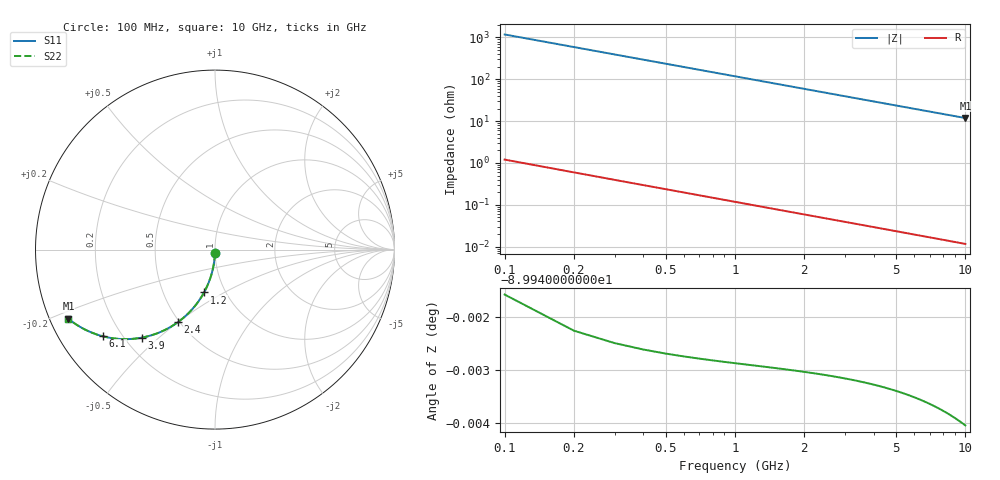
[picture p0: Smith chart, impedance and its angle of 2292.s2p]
# Hz S RI R 50.00
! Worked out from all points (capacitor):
!   100 points, 100 MHz to 10 GHz, reference 50 ohm
!   read as one part in shunt: C = 1.35 pF near 100 MHz
!   lowest |Z| = 11.9 ohm at 10 GHz (marker M1)
!   S11 on the Smith chart (normalised r, x): 100 MHz: 1.00, -0.04; 1.2 GHz: 0.79, -0.40; 2.4 GHz: 0.49, -0.50; 3.9 GHz: 0.27, -0.44; 6.1 GHz: 0.13, -0.34; 10 GHz: 0.05, -0.22
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1e8  -0.000459 -0.0212  0.9995 -0.0212  0.9995 -0.0212  -0.000459 -0.0212
2e8  -0.00182 -0.0423  0.9982 -0.0423  0.9982 -0.0423  -0.00182 -0.0423
3e8  -0.00407 -0.0632  0.9959 -0.0633  0.9959 -0.0633  -0.00407 -0.0632
4e8  -0.0072 -0.084  0.9928 -0.0841  0.9928 -0.0841  -0.0072 -0.084
5e8  -0.0112 -0.1046  0.9888 -0.1048  0.9888 -0.1048  -0.0112 -0.1046
6e8  -0.016 -0.1249  0.984 -0.1251  0.984 -0.1251  -0.016 -0.1249
7e8  -0.0216 -0.1449  0.9783 -0.1451  0.9783 -0.1451  -0.0216 -0.1449
9e8  -0.0352 -0.1837  0.9648 -0.184  0.9648 -0.184  -0.0352 -0.1837
1.2e9  -0.0609 -0.2384  0.9391 -0.2387  0.9391 -0.2387  -0.0609 -0.2384
1.5e9  -0.0919 -0.2882  0.9081 -0.2885  0.9081 -0.2885  -0.0919 -0.2882
1.8e9  -0.1271 -0.3323  0.8729 -0.3328  0.8729 -0.3328  -0.1271 -0.3323
2.1e9  -0.1653 -0.3707  0.8347 -0.3712  0.8347 -0.3712  -0.1653 -0.3707
2.4e9  -0.2054 -0.4032  0.7946 -0.4038  0.7946 -0.4038  -0.2054 -0.4032
2.9e9  -0.2739 -0.4451  0.7261 -0.4458  0.7261 -0.4458  -0.2739 -0.4451
3.4e9  -0.3413 -0.4732  0.6587 -0.4741  0.6587 -0.4741  -0.3413 -0.4732
3.9e9  -0.4052 -0.4899  0.5948 -0.4909  0.5948 -0.4909  -0.4052 -0.4899
5.1e9  -0.5378 -0.4974  0.4622 -0.4987  0.4622 -0.4987  -0.5378 -0.4974
6.1e9  -0.6245 -0.483  0.3755 -0.4845  0.3755 -0.4845  -0.6245 -0.483
6.7e9  -0.6672 -0.4699  0.3328 -0.4716  0.3328 -0.4716  -0.6672 -0.4699
7.5e9  -0.7151 -0.4499  0.2849 -0.4518  0.2849 -0.4518  -0.7151 -0.4499
8.4e9  -0.7588 -0.4262  0.2412 -0.4284  0.2412 -0.4284  -0.7588 -0.4262
1e10  -0.8166 -0.3852  0.1834 -0.3878  0.1834 -0.3878  -0.8166 -0.3852
